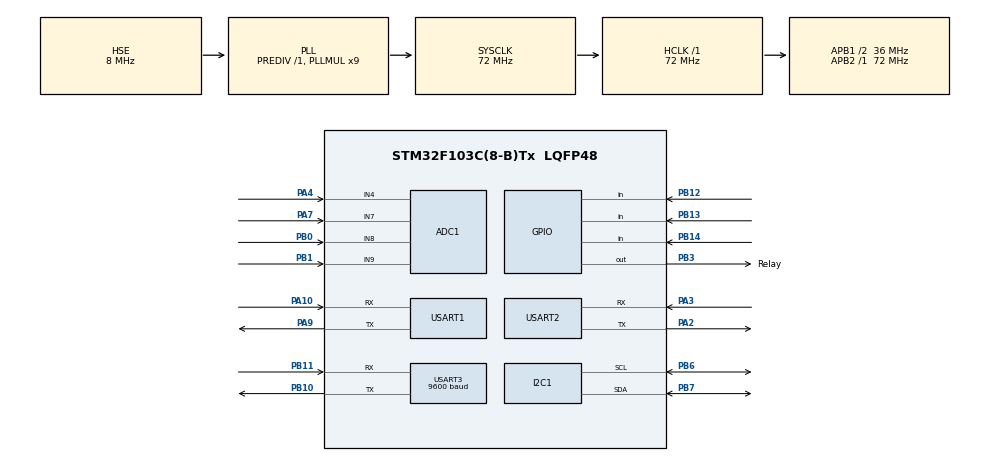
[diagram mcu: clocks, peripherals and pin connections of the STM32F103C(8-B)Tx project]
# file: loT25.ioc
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ADC1.Channel-0\#ChannelRegularConversion=ADC_CHANNEL_4
ADC1.Channel-1\#ChannelRegularConversion=ADC_CHANNEL_7
ADC1.Channel-2\#ChannelRegularConversion=ADC_CHANNEL_8
ADC1.Channel-3\#ChannelRegularConversion=ADC_CHANNEL_9
ADC1.ContinuousConvMode=ENABLE
ADC1.NbrOfConversion=4
ADC1.NbrOfConversionFlag=1
ADC1.Rank-0\#ChannelRegularConversion=1
ADC1.Rank-1\#ChannelRegularConversion=2
ADC1.Rank-2\#ChannelRegularConversion=3
ADC1.Rank-3\#ChannelRegularConversion=4
ADC1.SamplingTime-0\#ChannelRegularConversion=ADC_SAMPLETIME_1CYCLE_5
ADC1.SamplingTime-1\#ChannelRegularConversion=ADC_SAMPLETIME_1CYCLE_5
ADC1.SamplingTime-2\#ChannelRegularConversion=ADC_SAMPLETIME_1CYCLE_5
ADC1.SamplingTime-3\#ChannelRegularConversion=ADC_SAMPLETIME_1CYCLE_5
ADC1.master=1
Dma.ADC1.1.Direction=DMA_PERIPH_TO_MEMORY
Dma.ADC1.1.Instance=DMA1_Channel1
Dma.ADC1.1.MemDataAlignment=DMA_MDATAALIGN_HALFWORD
Dma.ADC1.1.MemInc=DMA_MINC_ENABLE
Dma.ADC1.1.Mode=DMA_CIRCULAR
Dma.ADC1.1.PeriphDataAlignment=DMA_PDATAALIGN_HALFWORD
Dma.ADC1.1.PeriphInc=DMA_PINC_DISABLE
Dma.ADC1.1.Priority=DMA_PRIORITY_LOW
Dma.Request0=USART3_RX
Dma.Request1=ADC1
Dma.Request2=USART1_RX
Dma.USART1_RX.2.Direction=DMA_PERIPH_TO_MEMORY
Dma.USART1_RX.2.Instance=DMA1_Channel5
Dma.USART1_RX.2.MemDataAlignment=DMA_MDATAALIGN_BYTE
Dma.USART1_RX.2.MemInc=DMA_MINC_ENABLE
Dma.USART1_RX.2.Mode=DMA_CIRCULAR
Dma.USART1_RX.2.PeriphDataAlignment=DMA_PDATAALIGN_BYTE
Dma.USART1_RX.2.PeriphInc=DMA_PINC_DISABLE
Dma.USART1_RX.2.Priority=DMA_PRIORITY_LOW
Dma.USART3_RX.0.Direction=DMA_PERIPH_TO_MEMORY
Dma.USART3_RX.0.Instance=DMA1_Channel3
Dma.USART3_RX.0.MemDataAlignment=DMA_MDATAALIGN_BYTE
Dma.USART3_RX.0.MemInc=DMA_MINC_ENABLE
Dma.USART3_RX.0.Mode=DMA_CIRCULAR
Dma.USART3_RX.0.PeriphDataAlignment=DMA_PDATAALIGN_BYTE
Dma.USART3_RX.0.PeriphInc=DMA_PINC_DISABLE
Dma.USART3_RX.0.Priority=DMA_PRIORITY_LOW
Mcu.Family=STM32F1
Mcu.Name=STM32F103C(8-B)Tx
Mcu.Package=LQFP48
NVIC.DMA1_Channel3_IRQn=true\:0\:0\:false\:false\:true\:false\:true\:true
NVIC.DMA1_Channel5_IRQn=true\:0\:0\:false\:false\:true\:true\:true\:true
NVIC.PriorityGroup=NVIC_PRIORITYGROUP_4
NVIC.USART1_IRQn=true\:0\:0\:false\:false\:true\:true\:true\:true
NVIC.USART3_IRQn=true\:0\:0\:false\:false\:true\:true\:true\:true
PA10.Mode=Asynchronous
PA10.Signal=USART1_RX
PA13.Mode=Serial_Wire
PA13.Signal=SYS_JTMS-SWDIO
PA14.Mode=Serial_Wire
PA14.Signal=SYS_JTCK-SWCLK
PA2.Mode=Asynchronous
PA2.Signal=USART2_TX
PA3.Mode=Asynchronous
PA3.Signal=USART2_RX
PA4.Signal=ADCx_IN4
PA7.Signal=ADCx_IN7
PA9.Mode=Asynchronous
PA9.Signal=USART1_TX
PB0.Signal=ADCx_IN8
PB1.Signal=ADCx_IN9
PB10.Mode=Asynchronous
PB10.Signal=USART3_TX
PB11.Mode=Asynchronous
PB11.Signal=USART3_RX
PB12.GPIO_PuPd=GPIO_PULLUP
PB12.Signal=GPIO_Input
PB13.GPIO_PuPd=GPIO_PULLUP
PB13.Signal=GPIO_Input
PB14.GPIO_PuPd=GPIO_PULLUP
PB14.Signal=GPIO_Input
PB3.GPIO_Label=Relay
PB3.Signal=GPIO_Output
PB6.Mode=I2C
PB6.Signal=I2C1_SCL
PB7.Mode=I2C
PB7.Signal=I2C1_SDA
PD0-OSC_IN.Mode=HSE-External-Oscillator
PD0-OSC_IN.Signal=RCC_OSC_IN
PD1-OSC_OUT.Mode=HSE-External-Oscillator
PD1-OSC_OUT.Signal=RCC_OSC_OUT
ProjectManager.HeapSize=0x200
ProjectManager.StackSize=0x400
ProjectManager.TargetToolchain=CMake
RCC.ADCPresc=RCC_ADCPCLK2_DIV6
RCC.AHBFreq_Value=72000000
RCC.APB1CLKDivider=RCC_HCLK_DIV2
RCC.APB1Freq_Value=36000000
RCC.APB1TimFreq_Value=72000000
RCC.APB2Freq_Value=72000000
RCC.APB2TimFreq_Value=72000000
RCC.HCLKFreq_Value=72000000
RCC.PLLMUL=RCC_PLL_MUL9
RCC.PLLSourceVirtual=RCC_PLLSOURCE_HSE
RCC.SYSCLKFreq_VALUE=72000000
RCC.SYSCLKSource=RCC_SYSCLKSOURCE_PLLCLK
RCC.USBFreq_Value=72000000
SH.ADCx_IN4.0=ADC1_IN4,IN4
SH.ADCx_IN7.0=ADC1_IN7,IN7
SH.ADCx_IN8.0=ADC1_IN8,IN8
SH.ADCx_IN9.0=ADC1_IN9,IN9
USART1.VirtualMode=VM_ASYNC
USART2.VirtualMode=VM_ASYNC
USART3.BaudRate=9600
USART3.VirtualMode=VM_ASYNC
board=custom

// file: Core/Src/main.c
/* USER CODE BEGIN Header */
/**
  ******************************************************************************
  * @file           : main.c
  * @brief          : Main program body
  ******************************************************************************
  * @attention
  *
  * Copyright (c) 2025 STMicroelectronics.
  * All rights reserved.
  *
  * This software is licensed under terms that can be found in the LICENSE file
  * in the root directory of this software component.
  * If no LICENSE file comes with this software, it is provided AS-IS.
  *
  ******************************************************************************
  */
/* USER CODE END Header */
#include "main.h"
#include "adc.h"
#include "dma.h"
#include "i2c.h"
#include "usart.h"
#include "gpio.h"

/* USER CODE BEGIN Includes */
#include "SHT31.h"
#include "OLED.h"
#include "u8g2.h"
#include "Transmit.h"
#include "Button.h"
#include "Relay.h"
/* USER CODE END Includes */

/* USER CODE BEGIN PTD */
//按键结构体
Button_HandleTypeDef button1;

/* USER CODE END PTD */

/* USER CODE BEGIN PV */
#define ADC_BUFFER_SIZE 4
uint16_t adc_buffer[ADC_BUFFER_SIZE];
float lightValue = 0;
float current = 0;  //电流
/* USER CODE END PV */

void SystemClock_Config(void);

int main(void)
{

  /* MCU Configuration--------------------------------------------------------*/

  /* Reset of all peripherals, Initializes the Flash interface and the Systick. */
  HAL_Init();

  /* Configure the system clock */
  SystemClock_Config();

  /* Initialize all configured peripherals */
  MX_GPIO_Init();
  MX_DMA_Init();
  MX_ADC1_Init();
  MX_I2C1_Init();
  MX_USART1_UART_Init();
  MX_USART2_UART_Init();
  MX_USART3_UART_Init();
  /* USER CODE BEGIN 2 */
  // 初始化并启动UART1接收
  UART1_Receiver_Init();
  // 初始化并启动UART3接收SHT31数据
  UART3_Receiver_Init();
  // 启动ADC DMA
  HAL_ADC_Start_DMA(&hadc1, (uint32_t*)adc_buffer, ADC_BUFFER_SIZE);

  Button_Init(&button1, BUTTON1_PIN);
  Relay_Init();

  u8g2_t u8g2;
  u8g2Init(&u8g2);
  u8g2_SetFont(&u8g2,u8g2_font_ncenB08_tr);
  /* USER CODE END 2 */

  /* Infinite loop */
  /* USER CODE BEGIN WHILE */
  while (1)
  {
    lightValue = (1-adc_buffer[0]/4095.0f)*100;

    // 计算电流 (ADC值28对应0mA，887对应50mA)
    if (adc_buffer[3] <= 28) {
      current = 0;
    } else {
      current = (adc_buffer[3] - 28) * 50.0f / (887 - 28);
    }

    u8g2_ClearBuffer(&u8g2);
    // 显示字符串
    //OLED_ShowString(&u8g2, 0, 10, "Hello World");
    // 显示整数
    //OLED_ShowInt(&u8g2, 0, 20, 123);
    // 显示浮点数（保留2位小数）
    OLED_ShowString(&u8g2, 0, 10, "Humidity:");
    OLED_ShowFloat(&u8g2, 80, 10, humidity, 2);
    OLED_ShowString(&u8g2, 0, 20, "Temperature:");
    OLED_ShowFloat(&u8g2, 80, 20, temperature, 2);
    OLED_ShowString(&u8g2, 0, 30, "LightValue:");
    OLED_ShowFloat(&u8g2, 80, 30, lightValue, 2);
    OLED_ShowString(&u8g2, 0, 40, "Current:");
    OLED_ShowFloat(&u8g2, 80, 40, current, 2);
    OLED_ShowString(&u8g2, 110, 40, "mA");
    OLED_ShowString(&u8g2, 0, 50, "Device:1");
    // 更新屏幕
    u8g2_SendBuffer(&u8g2);

    // 通过UART1发送测试信息
    ETH_TransmitString("?1,55.55\r\n");

    uint8_t event = Button_GetEvent(&button1);
    if (event == BUTTON_PRESS_EVENT) {
      Relay_Toggle();
      // 处理按钮按下事件
    } else if (event == BUTTON_RELEASE_EVENT) {
      // 处理按钮释放事件
    }
    /* USER CODE END WHILE */

  }
}

void SystemClock_Config(void)
{
  RCC_OscInitTypeDef RCC_OscInitStruct = {0};
  RCC_ClkInitTypeDef RCC_ClkInitStruct = {0};
  RCC_PeriphCLKInitTypeDef PeriphClkInit = {0};

  /** Initializes the RCC Oscillators according to the specified parameters
  * in the RCC_OscInitTypeDef structure.
  */
  RCC_OscInitStruct.OscillatorType = RCC_OSCILLATORTYPE_HSE;
  RCC_OscInitStruct.HSEState = RCC_HSE_ON;
  RCC_OscInitStruct.HSEPredivValue = RCC_HSE_PREDIV_DIV1;
  RCC_OscInitStruct.HSIState = RCC_HSI_ON;
  RCC_OscInitStruct.PLL.PLLState = RCC_PLL_ON;
  RCC_OscInitStruct.PLL.PLLSource = RCC_PLLSOURCE_HSE;
  RCC_OscInitStruct.PLL.PLLMUL = RCC_PLL_MUL9;
  if (HAL_RCC_OscConfig(&RCC_OscInitStruct) != HAL_OK)
  {
    Error_Handler();
  }

  /** Initializes the CPU, AHB and APB buses clocks
  */
  RCC_ClkInitStruct.ClockType = RCC_CLOCKTYPE_HCLK|RCC_CLOCKTYPE_SYSCLK
                              |RCC_CLOCKTYPE_PCLK1|RCC_CLOCKTYPE_PCLK2;
  RCC_ClkInitStruct.SYSCLKSource = RCC_SYSCLKSOURCE_PLLCLK;
  RCC_ClkInitStruct.AHBCLKDivider = RCC_SYSCLK_DIV1;
  RCC_ClkInitStruct.APB1CLKDivider = RCC_HCLK_DIV2;
  RCC_ClkInitStruct.APB2CLKDivider = RCC_HCLK_DIV1;

  if (HAL_RCC_ClockConfig(&RCC_ClkInitStruct, FLASH_LATENCY_2) != HAL_OK)
  {
    Error_Handler();
  }
  PeriphClkInit.PeriphClockSelection = RCC_PERIPHCLK_ADC;
  PeriphClkInit.AdcClockSelection = RCC_ADCPCLK2_DIV6;
  if (HAL_RCCEx_PeriphCLKConfig(&PeriphClkInit) != HAL_OK)
  {
    Error_Handler();
  }
}

void Error_Handler(void)
{
  __disable_irq();
  while (1)
  {
  }
}
